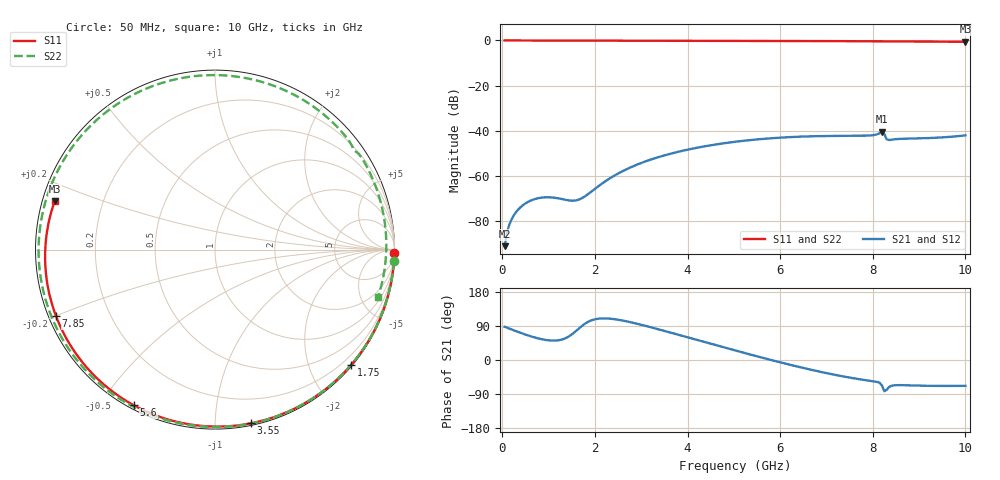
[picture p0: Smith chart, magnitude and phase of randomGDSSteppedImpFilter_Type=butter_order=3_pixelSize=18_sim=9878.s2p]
! freq	dB(S11)	phase(S11)	dB(S12)	phase(S12)
!  dB(S21)	phase(S21)	dB(S22)	phase(S22)
!S-par simulation data
#  GHz  S  DB  R 50
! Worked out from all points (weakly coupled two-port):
!   200 points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, 50 MHz to 10 GHz, reference 50 ohm
!   highest |S21| = -40.48 dB at 8.2 GHz (marker M1); lowest = -91.2 dB at 50 MHz (marker M2)
!   lowest |S11| = -0.6 dB at 10 GHz (marker M3), VSWR 28.84, Z = 1.77 + j7.36 ohm
!   |S11| at or under -10 dB: nowhere
!   |S22| runs from -0.5 to 0.0 dB; largest |S21 - S12| = 0
!   S11 on the Smith chart (normalised r, x): 50 MHz: 0, -97; 1.75 GHz: 0.02, -2.73; 3.55 GHz: 0.01, -1.23; 5.6 GHz: 0.01, -0.61; 7.85 GHz: 0.02, -0.20; 10 GHz: 0.04, +0.15
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0.05  -0.00 -1.2  -91.24 87.6  -91.24 87.6  -0.00 -3.7
0.2  -0.01 -4.7  -79.36 80.5  -79.36 80.5  -0.02 -14.7
0.35  -0.01 -8.2  -74.84 73.6  -74.84 73.6  -0.04 -25.5
0.5  -0.02 -11.7  -72.28 67.1  -72.28 67.1  -0.05 -36.1
0.9  -0.03 -20.9  -69.61 53.7  -69.61 53.7  -0.07 -62.8
1.3  -0.04 -30.1  -70.40 54.5  -70.40 54.5  -0.09 -86.9
1.55  -0.04 -35.7  -71.05 72.3  -71.05 72.3  -0.10 -100.5
1.75  -0.05 -40.2  -69.60 92.8  -69.60 92.8  -0.11 -110.7
2.15  -0.06 -49.0  -63.53 109.7  -63.53 109.7  -0.12 -129.3
2.55  -0.07 -57.7  -58.48 105.2  -58.48 105.2  -0.13 -145.9
3.4  -0.10 -75.4  -51.57 80.1  -51.57 80.1  -0.15 -176.9
3.55  -0.10 -78.4  -50.69 75.1  -50.69 75.1  -0.15 178.1
4.25  -0.13 -92.3  -47.40 51.3  -47.40 51.3  -0.17 155.7
5.05  -0.16 -107.4  -44.88 24.4  -44.88 24.4  -0.20 131.3
5.6  -0.19 -117.5  -43.72 6.5  -43.72 6.5  -0.22 114.8
6.7  -0.26 -137.1  -42.50 -26.6  -42.50 -26.6  -0.25 81.7
7.85  -0.35 -157.3  -42.25 -53.2  -42.25 -53.2  -0.31 46.7
8.2  -0.39 -163.4  -40.48 -67.6  -40.48 -67.6  -0.42 36.1
8.3  -0.39 -165.2  -43.85 -78.7  -43.85 -78.7  -0.34 33.7
8.35  -0.40 -166.1  -44.16 -71.4  -44.16 -71.4  -0.32 32.0
9.15  -0.49 179.4  -43.34 -68.0  -43.34 -68.0  -0.38 7.9
10  -0.60 163.2  -42.10 -68.2  -42.10 -68.2  -0.48 -16.4
